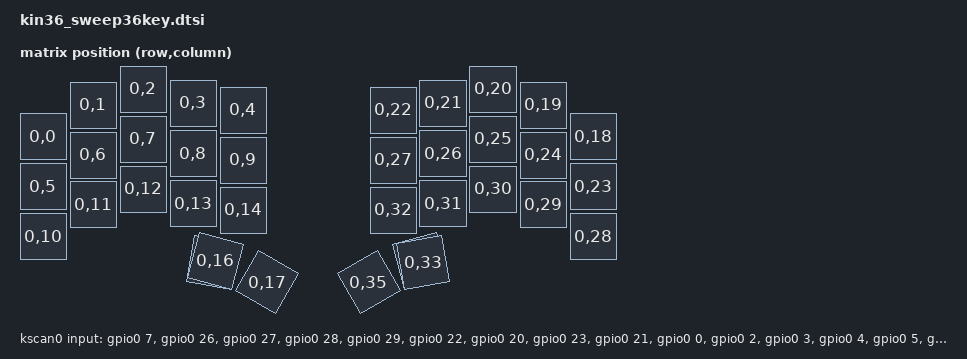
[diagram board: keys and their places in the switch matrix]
/*
 * Copyright (c) 2020 The ZMK Contributors
 *
 * SPDX-License-Identifier: MIT
 */

#include <dt-bindings/zmk/matrix_transform.h>
#include <physical_layouts.dtsi>

/ {
    chosen {
        zmk,kscan = &kscan0;
        zmk,split = &uart0;
    };

    default_transform: keymap_transform_0 {
        compatible = "zmk,matrix-transform";
        columns = <36>;
        rows = <1>;
        map = <
        RC(0,0)  RC(0,1)  RC(0,2)  RC(0,3)  RC(0,4)    RC(0,22) RC(0,21) RC(0,20) RC(0,19) RC(0,18)
        RC(0,5)  RC(0,6)  RC(0,7)  RC(0,8)  RC(0,9)    RC(0,27) RC(0,26) RC(0,25) RC(0,24) RC(0,23)
        RC(0,10) RC(0,11) RC(0,12) RC(0,13) RC(0,14)   RC(0,32) RC(0,31) RC(0,30) RC(0,29) RC(0,28)
                          RC(0,15) RC(0,16) RC(0,17)   RC(0,35) RC(0,34) RC(0,33)
        >;
    };

    kscan0: kscan {
        compatible = "zmk,kscan-gpio-direct";
        wakeup-source;

        input-gpios
        = <&gpio0  7 (GPIO_ACTIVE_LOW | GPIO_PULL_UP)>
        , <&gpio0 26 (GPIO_ACTIVE_LOW | GPIO_PULL_UP)>
        , <&gpio0 27 (GPIO_ACTIVE_LOW | GPIO_PULL_UP)>
        , <&gpio0 28 (GPIO_ACTIVE_LOW | GPIO_PULL_UP)>
        , <&gpio0 29 (GPIO_ACTIVE_LOW | GPIO_PULL_UP)>
        , <&gpio0 22 (GPIO_ACTIVE_LOW | GPIO_PULL_UP)>
        , <&gpio0 20 (GPIO_ACTIVE_LOW | GPIO_PULL_UP)>
        , <&gpio0 23 (GPIO_ACTIVE_LOW | GPIO_PULL_UP)>
        , <&gpio0 21 (GPIO_ACTIVE_LOW | GPIO_PULL_UP)>
        , <&gpio0  0 (GPIO_ACTIVE_LOW | GPIO_PULL_UP)>
        , <&gpio0  2 (GPIO_ACTIVE_LOW | GPIO_PULL_UP)>
        , <&gpio0  3 (GPIO_ACTIVE_LOW | GPIO_PULL_UP)>
        , <&gpio0  4 (GPIO_ACTIVE_LOW | GPIO_PULL_UP)>
        , <&gpio0  5 (GPIO_ACTIVE_LOW | GPIO_PULL_UP)>
        , <&gpio0  6 (GPIO_ACTIVE_LOW | GPIO_PULL_UP)>
        , <&gpio0  1 (GPIO_ACTIVE_LOW | GPIO_PULL_UP)>
        , <&gpio0  8 (GPIO_ACTIVE_LOW | GPIO_PULL_UP)>
        , <&gpio0  9 (GPIO_ACTIVE_LOW | GPIO_PULL_UP)>
        ;
    };

    kin36_sweep36key_layout: kin36_sweep36key_layout {
        compatible = "zmk,physical-layout";
        display-name = "Default";
        transform = <&default_transform>;

        keys  //                     w   h    x    y     rot    rx    ry
        // 1 row
            = <&key_physical_attrs 100 100    0   95       0     0     0>
            , <&key_physical_attrs 100 100  100   32       0     0     0>
            , <&key_physical_attrs 100 100  200    0       0     0     0>
            , <&key_physical_attrs 100 100  300   28       0     0     0>
            , <&key_physical_attrs 100 100  400   42       0     0     0>
            , <&key_physical_attrs 100 100  700   42       0     0     0>
            , <&key_physical_attrs 100 100  800   28       0     0     0>
            , <&key_physical_attrs 100 100  900    0       0     0     0>
            , <&key_physical_attrs 100 100 1000   32       0     0     0>
            , <&key_physical_attrs 100 100 1100   95       0     0     0>
        // 2 row
            , <&key_physical_attrs 100 100    0  195       0     0     0>
            , <&key_physical_attrs 100 100  100  132       0     0     0>
            , <&key_physical_attrs 100 100  200  100       0     0     0>
            , <&key_physical_attrs 100 100  300  129       0     0     0>
            , <&key_physical_attrs 100 100  400  142       0     0     0>
            , <&key_physical_attrs 100 100  700  142       0     0     0>
            , <&key_physical_attrs 100 100  800  129       0     0     0>
            , <&key_physical_attrs 100 100  900  100       0     0     0>
            , <&key_physical_attrs 100 100 1000  132       0     0     0>
            , <&key_physical_attrs 100 100 1100  195       0     0     0>
        // 3 row
            , <&key_physical_attrs 100 100    0  295       0     0     0>
            , <&key_physical_attrs 100 100  100  231       0     0     0>
            , <&key_physical_attrs 100 100  200  200       0     0     0>
            , <&key_physical_attrs 100 100  300  229       0     0     0>
            , <&key_physical_attrs 100 100  400  242       0     0     0>
            , <&key_physical_attrs 100 100  700  242       0     0     0>
            , <&key_physical_attrs 100 100  800  229       0     0     0>
            , <&key_physical_attrs 100 100  900  200       0     0     0>
            , <&key_physical_attrs 100 100 1000  231       0     0     0>
            , <&key_physical_attrs 100 100 1100  295       0     0     0>
        // 4 row
            , <&key_physical_attrs 100 100  330  355    1000   430   455>
            , <&key_physical_attrs 100 100  330  355    1500   430   455>
            , <&key_physical_attrs 100 100  430  355    3000   430   455>
            , <&key_physical_attrs 100 100  670  355 (-3000)   770   455>
            , <&key_physical_attrs 100 100  770  355 (-1500)   770   455>
            , <&key_physical_attrs 100 100  770  355 (-1000)   770   455>
            ;
    };

};

&uart0 {
    compatible = "pico,uart";
    current-speed = <1000000>;
    pinctrl-0 = <&uart0_default_gpio10>;
    pinctrl-names = "default";
    status = "okay";
};

&pinctrl {
    uart0_default_gpio10: uart0_default_gpio10 {
        group1 {
            pinmux = <PIO0_10_U0TX>;  // GPIO10 как UART TX для half-duplex
            input-enable;
            output-enable;
            bias-pull-up;
        };
    };
};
